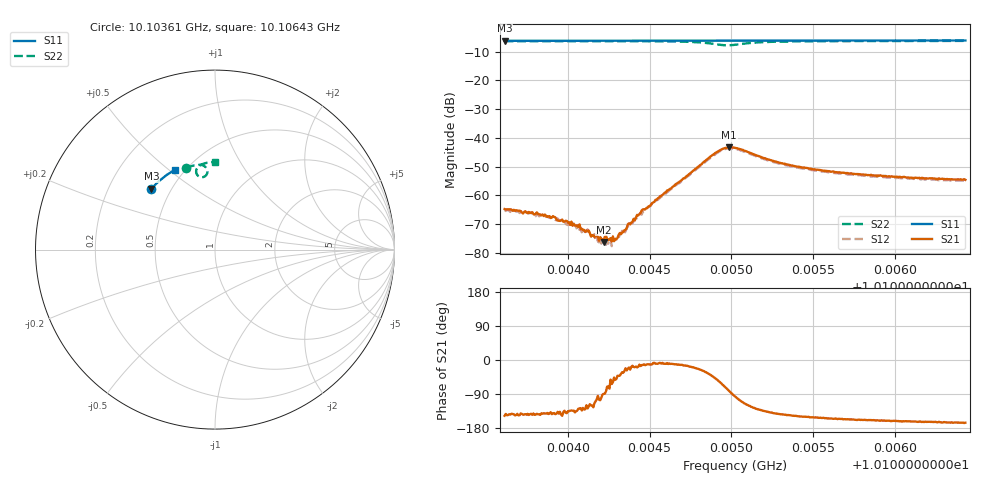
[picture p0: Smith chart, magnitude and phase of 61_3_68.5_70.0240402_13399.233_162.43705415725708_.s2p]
#  HZ  S  RI  R  50.00
! Rohde & Schwarz Vector Network Analyzer
! Rohde-Schwarz,ZNB20-2Port,1311601062101988,3.16
! Created: UTC 3/20/2024, 4:51:15 PM
! freq[Hz]  re:S11  im:S11  re:S21  im:S21  re:S12  im:S12  re:S22  im:S22
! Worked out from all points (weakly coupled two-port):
!   401 points, 10.10361 GHz to 10.10643 GHz, reference 50 ohm
!   highest |S21| = -43.25 dB at 10.10499 GHz (marker M1); lowest = -76.2 dB at 10.10422 GHz (marker M2)
!   lowest |S11| = -6.2 dB at 10.10361 GHz (marker M3), VSWR 2.92, Z = 19.5 + j17.4 ohm
!   |S11| at or under -10 dB: nowhere
!   |S22| runs from -7.8 to -6.2 dB; largest |S21 - S12| = 0.00068
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1.0103614e10  -0.3543 0.3387  -0.000486 -0.000315  -0.000434 -0.000351  -0.16 0.4552
1.0103882e10  -0.3433 0.3509  -0.000341 -0.000262  -0.00029 -0.0003  -0.1425 0.4617
1.0103995e10  -0.3386 0.3557  -0.000276 -0.000229  -0.000196 -0.000238  -0.1347 0.464
1.010403e10  -0.3372 0.3574  -0.000205 -0.000215  -0.0002 -0.000226  -0.1321 0.4647
1.0104086e10  -0.3347 0.36  -0.00018 -0.000191  -0.000121 -0.000194  -0.1281 0.4661
1.0104114e10  -0.3335 0.3612  -0.00012 -0.000213  -0.000116 -0.000208  -0.126 0.4666
1.0104149e10  -0.332 0.3626  -0.000104 -0.000176  -8.8e-05 -0.00018  -0.1234 0.4673
1.0104178e10  -0.3307 0.3638  -4.87e-05 -0.000198  -5.13e-05 -0.00018  -0.1212 0.468
1.0104206e10  -0.3295 0.3651  -2.64e-05 -0.000172  -2.16e-06 -0.000145  -0.119 0.4683
1.010422e10  -0.329 0.3657  1.65e-06 -0.000154  2.32e-05 -0.000169  -0.1178 0.4687
1.0104283e10  -0.3261 0.3683  0.000111 -0.000116  9.75e-05 -0.000126  -0.1129 0.4698
1.0104297e10  -0.3256 0.369  0.000111 -0.000134  0.000128 -0.00011  -0.1117 0.4699
1.0104452e10  -0.3188 0.3754  0.000534 -0.000127  0.000459 -7.58e-05  -0.0979 0.472
1.0104558e10  -0.314 0.3797  0.000907 -0.000131  0.000867 -7.26e-05  -0.0868 0.4725
1.0104889e10  -0.2983 0.3926  0.0037 -0.00357  0.00383 -0.00306  -0.0423 0.4328
1.0104938e10  -0.2961 0.3943  0.00301 -0.0055  0.00333 -0.00504  -0.051 0.4125
1.0104987e10  -0.294 0.3961  0.000928 -0.00682  0.00147 -0.00643  -0.0742 0.403
1.0105022e10  -0.2925 0.3974  -0.000728 -0.00672  -0.000121 -0.0065  -0.0906 0.4081
1.0105255e10  -0.2815 0.4064  -0.00306 -0.00256  -0.00269 -0.0027  -0.0933 0.4622
1.0105494e10  -0.27 0.4151  -0.00251 -0.00138  -0.00232 -0.00152  -0.0696 0.4767
1.0105965e10  -0.2461 0.431  -0.00202 -0.000743  -0.00184 -0.000875  -0.0327 0.4856
1.010643e10  -0.2218 0.4451  -0.00181 -0.000467  -0.0017 -0.000571  -0.000142 0.4887
